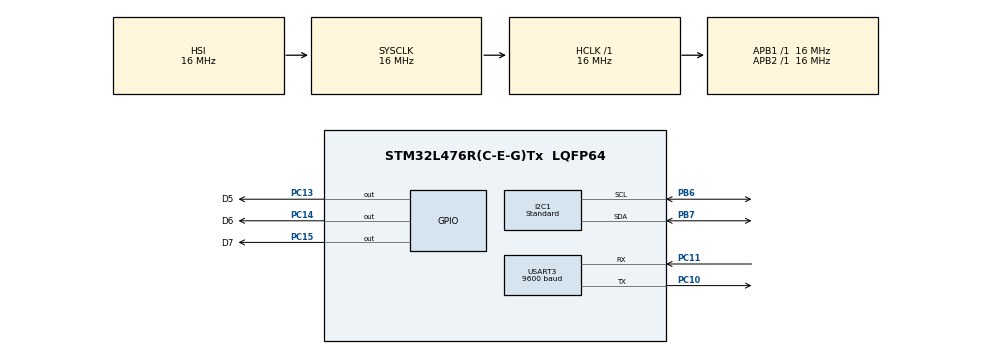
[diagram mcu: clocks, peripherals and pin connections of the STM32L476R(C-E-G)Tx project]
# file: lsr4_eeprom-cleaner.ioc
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I2C1.I2C_Speed_Mode=I2C_Standard
I2C1.Timing=0x00303D5B
Mcu.Family=STM32L4
Mcu.Name=STM32L476R(C-E-G)Tx
Mcu.Package=LQFP64
NVIC.PriorityGroup=NVIC_PRIORITYGROUP_4
NVIC.USART3_IRQn=true\:0\:0\:false\:false\:true\:true\:true\:true
PA13\ (JTMS-SWDIO).Mode=Serial_Wire
PA13\ (JTMS-SWDIO).Signal=SYS_JTMS-SWDIO
PA14\ (JTCK-SWCLK).Mode=Serial_Wire
PA14\ (JTCK-SWCLK).Signal=SYS_JTCK-SWCLK
PB6.Mode=I2C
PB6.Signal=I2C1_SCL
PB7.Mode=I2C
PB7.Signal=I2C1_SDA
PC10.Mode=Asynchronous
PC10.Signal=USART3_TX
PC11.Mode=Asynchronous
PC11.Signal=USART3_RX
PC13.GPIO_Label=D5
PC13.Signal=GPIO_Output
PC14-OSC32_IN\ (PC14).GPIO_Label=D6
PC14-OSC32_IN\ (PC14).Signal=GPIO_Output
PC15-OSC32_OUT\ (PC15).GPIO_Label=D7
PC15-OSC32_OUT\ (PC15).Signal=GPIO_Output
PH0-OSC_IN\ (PH0).Mode=HSE-External-Oscillator
PH0-OSC_IN\ (PH0).Signal=RCC_OSC_IN
PH1-OSC_OUT\ (PH1).Mode=HSE-External-Oscillator
PH1-OSC_OUT\ (PH1).Signal=RCC_OSC_OUT
ProjectManager.HeapSize=0x200
ProjectManager.StackSize=0x400
ProjectManager.TargetToolchain=STM32CubeIDE
RCC.ADCFreq_Value=64000000
RCC.AHBFreq_Value=16000000
RCC.APB1Freq_Value=16000000
RCC.APB1TimFreq_Value=16000000
RCC.APB2Freq_Value=16000000
RCC.APB2TimFreq_Value=16000000
RCC.CortexFreq_Value=16000000
RCC.HCLKFreq_Value=16000000
RCC.HSE_VALUE=16000000
RCC.HSI_VALUE=16000000
RCC.LSE_VALUE=32768
RCC.MSI_VALUE=4000000
RCC.PLLSourceVirtual=RCC_PLLSOURCE_HSE
RCC.SYSCLKFreq_VALUE=16000000
RCC.SYSCLKSource=RCC_SYSCLKSOURCE_HSI
RCC.USBFreq_Value=64000000
RCC.VCOOutputFreq_Value=128000000
USART3.BaudRate=9600
USART3.VirtualMode-Asynchronous=VM_ASYNC
board=custom

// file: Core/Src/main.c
/* USER CODE BEGIN Header */
/**
  ******************************************************************************
  * @file           : main.c
  * @brief          : Main program body
  ******************************************************************************
  * @attention
  *
  * Copyright (c) 2024 STMicroelectronics.
  * All rights reserved.
  *
  * This software is licensed under terms that can be found in the LICENSE file
  * in the root directory of this software component.
  * If no LICENSE file comes with this software, it is provided AS-IS.
  *
  ******************************************************************************
  */
/* USER CODE END Header */
#include "main.h"

I2C_HandleTypeDef hi2c1;

UART_HandleTypeDef huart3;

void SystemClock_Config(void);
static void MX_GPIO_Init(void);
static void MX_I2C1_Init(void);
static void MX_USART3_UART_Init(void);

/* USER CODE BEGIN 0 */

//-------------------------------------
void read_eeprom()
{

uint16_t wmsg[16];
uint16_t rmsg[16];
memset(wmsg, 0, sizeof(wmsg));
// HAL expects address to be shifted one bit to the left
uint16_t devAddr = (0xA0); //вот этот
uint16_t memAddr = 0x0100;
HAL_StatusTypeDef status;

	    //HAL_I2C_Mem_Write(&hi2c1, devAddr, memAddr, I2C_MEMADD_SIZE_16BIT, (uint8_t*)wmsg, sizeof(wmsg), HAL_MAX_DELAY);

for(int i=0; i<256; i++)
	    {

	    	 HAL_I2C_Mem_Write(&hi2c1, devAddr, i*256, I2C_MEMADD_SIZE_16BIT, (uint8_t*)wmsg, sizeof(wmsg), HAL_MAX_DELAY);
	    	 for(;;)
	    	 	    {
	    	 	        status = HAL_I2C_IsDeviceReady(&hi2c1, devAddr, 1, HAL_MAX_DELAY);
	    	 	        if(status == HAL_OK)
	    	 	            break;
	    	 	    }

	    }

	    for(int i=0; i<256; i++)
	    {
	    	char buffer[10];
	    	sprintf(buffer, "%d\r\n", i);
	    	//HAL_UART_Transmit(&huart3, buffer, sizeof(buffer), 1000);

	    	rmsg[0]=13;

	    		//		HAL_UART_Transmit(&huart3, rmsg, 1, 1000);
	    				//HAL_Delay(1000);
	    	 HAL_I2C_Mem_Read(&hi2c1, devAddr, i*256, I2C_MEMADD_SIZE_16BIT, (uint8_t*)rmsg, sizeof(rmsg), HAL_MAX_DELAY);

	    	 HAL_UART_Transmit(&huart3, rmsg, sizeof(rmsg), 1000);

			rmsg[0]=13;

			HAL_UART_Transmit(&huart3, rmsg, 1, 1000);
			//HAL_Delay(1000);
	    }

}

//-------------------------------------
void check_eeprom ()
{

#define 	BUFFER_SIZE   	16
#define 	MAX_ADDR 		256

uint8_t dock_in[BUFFER_SIZE];
uint8_t dock_out[BUFFER_SIZE];

		HAL_GPIO_WritePin(D6_GPIO_Port, D6_Pin, SET);
		HAL_Delay(5000);

		HAL_GPIO_WritePin(D6_GPIO_Port, D6_Pin, RESET);
		HAL_Delay(1000);

		uint16_t i=0x00;

		for(i=0; i<BUFFER_SIZE; i++)
		{
			dock_in[i]=0x00;
			dock_out[i]=2;
		}

		//-------general cycle------
		for(i=0x00; i<MAX_ADDR; i++)
		{

			for(i=0; i<BUFFER_SIZE; i++)
			{
				//dock_in[i]=0x00;
				dock_out[i]=2;
			}

			//HAL_I2C_Mem_Write(&hi2c1, 0xA0, i, I2C_MEMADD_SIZE_8BIT, dock_in, BUFFER_SIZE, 1000);
			//HAL_Delay(1000);
			HAL_I2C_Mem_Read(&hi2c1, 0xA0, i, I2C_MEMADD_SIZE_8BIT, dock_out, BUFFER_SIZE, 1000);
			HAL_Delay(1000);
			HAL_UART_Transmit(&huart3, dock_out, BUFFER_SIZE, 1000);

			dock_out[1]=i;
			dock_out[2]=13;
			dock_out[0]=13;

			HAL_UART_Transmit(&huart3, dock_out, 3, 1000);
			HAL_Delay(1000);

		}

		HAL_Delay(1500);

		HAL_GPIO_WritePin(D6_GPIO_Port, D6_Pin, SET);

		HAL_Delay(1500);

}

//-------------------------------------
void erase_eeprom ()
{

#define 	BUFFER_SIZE   	16
#define 	MAX_ADDR 		256

uint8_t dock_in[BUFFER_SIZE];
uint8_t dock_out[BUFFER_SIZE];

		HAL_GPIO_WritePin(D5_GPIO_Port, D5_Pin, RESET);
		HAL_Delay(2000);

		HAL_GPIO_WritePin(D5_GPIO_Port, D5_Pin, SET);
		HAL_Delay(1000);

		uint16_t i=0x00;

		for(i=0; i<BUFFER_SIZE; i++)
		{
			dock_in[i]=0x00;
			dock_out[i]=2;
		}

		///-------general cycle------
		for(i=0x00; i<MAX_ADDR; i++)
		{
			HAL_I2C_Mem_Write(&hi2c1, 0xA0, i, I2C_MEMADD_SIZE_8BIT, dock_in, BUFFER_SIZE, 1000);
			HAL_Delay(1000);
			HAL_I2C_Mem_Read(&hi2c1, 0xA0, i, I2C_MEMADD_SIZE_8BIT, dock_out, BUFFER_SIZE, 1000);
			HAL_Delay(1000);
			HAL_UART_Transmit(&huart3, dock_out, BUFFER_SIZE, 1000);

			dock_out[1]=i;
			dock_out[2]=13;
			dock_out[0]=13;

			HAL_UART_Transmit(&huart3, dock_out, 3, 1000);

		}

		HAL_Delay(1500);

		HAL_GPIO_WritePin(D5_GPIO_Port, D5_Pin, RESET);

		HAL_Delay(1500);

}

/* USER CODE END 0 */

int main(void)
{

  /* MCU Configuration--------------------------------------------------------*/

  /* Reset of all peripherals, Initializes the Flash interface and the Systick. */
  HAL_Init();

  /* Configure the system clock */
  SystemClock_Config();

  /* Initialize all configured peripherals */
  MX_GPIO_Init();
  MX_I2C1_Init();
  MX_USART3_UART_Init();
  /* USER CODE BEGIN 2 */

/*
	HAL_GPIO_WritePin(LED_GPIO_Port, LED_Pin, GPIO_PIN_SET);
	HAL_Delay(250);
	HAL_GPIO_WritePin(LED_GPIO_Port, LED_Pin, GPIO_PIN_RESET);
	HAL_Delay(250);
*/

	//data_out[BUFFER_SIZE-1]=13;

/*
	HAL_I2C_Mem_Write(&hi2c1, 0xA0, j, I2C_MEMADD_SIZE_16BIT, data_in, BUFFER_SIZE, 1000);
	HAL_Delay(500);
*/

	//uint16_t j=0x00;

//HAL_GPIO_WritePin(LED_GPIO_Port, LED_Pin, GPIO_PIN_SET);

	HAL_GPIO_WritePin(D5_GPIO_Port, D5_Pin, RESET);
	HAL_GPIO_WritePin(D6_GPIO_Port, D6_Pin, RESET);
	HAL_GPIO_WritePin(D7_GPIO_Port, D7_Pin, RESET);
	HAL_Delay(4000);

	HAL_GPIO_WritePin(D5_GPIO_Port, D5_Pin, SET);
	HAL_GPIO_WritePin(D6_GPIO_Port, D6_Pin, SET);
	HAL_GPIO_WritePin(D7_GPIO_Port, D7_Pin, SET);
	HAL_Delay(1000);

	  read_eeprom();

	//erase_eeprom();

	//check_eeprom();

	HAL_GPIO_WritePin(D5_GPIO_Port, D5_Pin, RESET);
	HAL_GPIO_WritePin(D6_GPIO_Port, D6_Pin, RESET);
	HAL_GPIO_WritePin(D7_GPIO_Port, D7_Pin, RESET);
	HAL_Delay(2000);

	HAL_GPIO_WritePin(D5_GPIO_Port, D5_Pin, SET);
	HAL_GPIO_WritePin(D6_GPIO_Port, D6_Pin, SET);
	HAL_GPIO_WritePin(D7_GPIO_Port, D7_Pin, SET);
	HAL_Delay(1000);

  /* USER CODE END 2 */

  /* Infinite loop */
  while (1)
  {

  }
}

void SystemClock_Config(void)
{
  RCC_OscInitTypeDef RCC_OscInitStruct = {0};
  RCC_ClkInitTypeDef RCC_ClkInitStruct = {0};

  /** Configure the main internal regulator output voltage
  */
  if (HAL_PWREx_ControlVoltageScaling(PWR_REGULATOR_VOLTAGE_SCALE1) != HAL_OK)
  {
    Error_Handler();
  }

  /** Initializes the RCC Oscillators according to the specified parameters
  * in the RCC_OscInitTypeDef structure.
  */
  RCC_OscInitStruct.OscillatorType = RCC_OSCILLATORTYPE_HSI;
  RCC_OscInitStruct.HSIState = RCC_HSI_ON;
  RCC_OscInitStruct.HSICalibrationValue = RCC_HSICALIBRATION_DEFAULT;
  RCC_OscInitStruct.PLL.PLLState = RCC_PLL_NONE;
  if (HAL_RCC_OscConfig(&RCC_OscInitStruct) != HAL_OK)
  {
    Error_Handler();
  }

  /** Initializes the CPU, AHB and APB buses clocks
  */
  RCC_ClkInitStruct.ClockType = RCC_CLOCKTYPE_HCLK|RCC_CLOCKTYPE_SYSCLK
                              |RCC_CLOCKTYPE_PCLK1|RCC_CLOCKTYPE_PCLK2;
  RCC_ClkInitStruct.SYSCLKSource = RCC_SYSCLKSOURCE_HSI;
  RCC_ClkInitStruct.AHBCLKDivider = RCC_SYSCLK_DIV1;
  RCC_ClkInitStruct.APB1CLKDivider = RCC_HCLK_DIV1;
  RCC_ClkInitStruct.APB2CLKDivider = RCC_HCLK_DIV1;

  if (HAL_RCC_ClockConfig(&RCC_ClkInitStruct, FLASH_LATENCY_0) != HAL_OK)
  {
    Error_Handler();
  }
}

static void MX_I2C1_Init(void)
{

  hi2c1.Instance = I2C1;
  hi2c1.Init.Timing = 0x00303D5B;
  hi2c1.Init.OwnAddress1 = 0;
  hi2c1.Init.AddressingMode = I2C_ADDRESSINGMODE_7BIT;
  hi2c1.Init.DualAddressMode = I2C_DUALADDRESS_DISABLE;
  hi2c1.Init.OwnAddress2 = 0;
  hi2c1.Init.OwnAddress2Masks = I2C_OA2_NOMASK;
  hi2c1.Init.GeneralCallMode = I2C_GENERALCALL_DISABLE;
  hi2c1.Init.NoStretchMode = I2C_NOSTRETCH_DISABLE;
  if (HAL_I2C_Init(&hi2c1) != HAL_OK)
  {
    Error_Handler();
  }

  /** Configure Analogue filter
  */
  if (HAL_I2CEx_ConfigAnalogFilter(&hi2c1, I2C_ANALOGFILTER_ENABLE) != HAL_OK)
  {
    Error_Handler();
  }

  /** Configure Digital filter
  */
  if (HAL_I2CEx_ConfigDigitalFilter(&hi2c1, 0) != HAL_OK)
  {
    Error_Handler();
  }

}

static void MX_USART3_UART_Init(void)
{

  huart3.Instance = USART3;
  huart3.Init.BaudRate = 9600;
  huart3.Init.WordLength = UART_WORDLENGTH_8B;
  huart3.Init.StopBits = UART_STOPBITS_1;
  huart3.Init.Parity = UART_PARITY_NONE;
  huart3.Init.Mode = UART_MODE_TX_RX;
  huart3.Init.HwFlowCtl = UART_HWCONTROL_NONE;
  huart3.Init.OverSampling = UART_OVERSAMPLING_16;
  huart3.Init.OneBitSampling = UART_ONE_BIT_SAMPLE_DISABLE;
  huart3.AdvancedInit.AdvFeatureInit = UART_ADVFEATURE_NO_INIT;
  if (HAL_UART_Init(&huart3) != HAL_OK)
  {
    Error_Handler();
  }

}

static void MX_GPIO_Init(void)
{
  GPIO_InitTypeDef GPIO_InitStruct = {0};

  /* GPIO Ports Clock Enable */
  __HAL_RCC_GPIOC_CLK_ENABLE();
  __HAL_RCC_GPIOH_CLK_ENABLE();
  __HAL_RCC_GPIOA_CLK_ENABLE();
  __HAL_RCC_GPIOB_CLK_ENABLE();

  /*Configure GPIO pin Output Level */
  HAL_GPIO_WritePin(GPIOC, D5_Pin|D6_Pin|D7_Pin, GPIO_PIN_RESET);

  /*Configure GPIO pins : D5_Pin D6_Pin D7_Pin */
  GPIO_InitStruct.Pin = D5_Pin|D6_Pin|D7_Pin;
  GPIO_InitStruct.Mode = GPIO_MODE_OUTPUT_PP;
  GPIO_InitStruct.Pull = GPIO_NOPULL;
  GPIO_InitStruct.Speed = GPIO_SPEED_FREQ_LOW;
  HAL_GPIO_Init(GPIOC, &GPIO_InitStruct);

}

void Error_Handler(void)
{
  __disable_irq();
  while (1)
  {
  }
}
